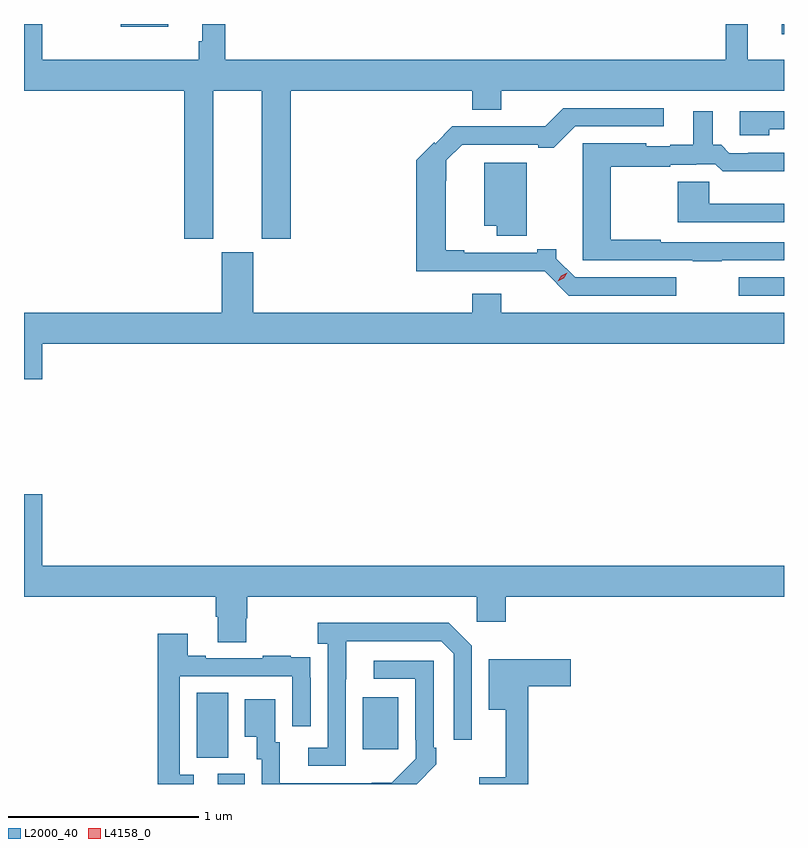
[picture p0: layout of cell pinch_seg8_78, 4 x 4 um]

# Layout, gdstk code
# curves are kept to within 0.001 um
import gdstk
lib = gdstk.Library(unit=1e-6, precision=1e-09)
def R(c, l, rs):  # rectangles x0, y0, x1, y1
    for r in rs: c.add(gdstk.rectangle(r[:2], r[2:], *l))
def P(c, l, *ps):  # polygons
    for p in ps: c.add(gdstk.Polygon(p, *l))
L2000_40 = (2000, 40)
L4158_0 = (4158, 0)

pinch_seg8_78 = lib.new_cell('pinch_seg8_78')
R(pinch_seg8_78, L2000_40, [(1029.233,1107.523,1029.373,1107.576), (1029.122,1107.661,1029.286,1108.004), (1029.995,1107.705,1030.183,1107.979), (1031.973,1110.093,1032.212,1110.189), (1032.2,1111.469,1032.212,1111.523), (1028.72,1111.508,1028.971,1111.523)])
P(pinch_seg8_78, L2000_40, [(1029.208,1111.172),(1029.464,1111.172),(1029.464,1110.393),(1029.617,1110.393),(1029.617,1111.172),(1030.571,1111.172),(1030.571,1111.073),(1030.723,1111.073),(1030.723,1111.172),(1032.212,1111.172),(1032.212,1111.336),(1032.022,1111.336),(1032.022,1111.523),(1031.905,1111.523),(1031.905,1111.336),(1029.271,1111.336),(1029.271,1111.523),(1029.149,1111.523),(1029.149,1111.432),(1029.132,1111.432),(1029.132,1111.336),(1028.308,1111.336),(1028.308,1111.523),(1028.212,1111.523),(1028.212,1111.172),(1029.055,1111.172),(1029.055,1110.393),(1029.208,1110.393)],
  [(1031.644,1110.189),(1031.112,1110.189),(1031.013,1110.288),(1031.013,1110.338),(1030.913,1110.338),(1030.913,1110.318),(1030.528,1110.318),(1030.528,1110.331),(1030.432,1110.331),(1030.432,1110.698),(1030.435,1110.698),(1030.435,1110.805),(1030.518,1110.888),(1030.919,1110.888),(1030.919,1110.872),(1031,1110.872),(1031.112,1110.984),(1031.578,1110.984),(1031.578,1111.08),(1031.049,1111.08),(1030.955,1110.986),(1030.85,1110.986),(1030.85,1110.984),(1030.467,1110.984),(1030.377,1110.894),(1030.37,1110.901),(1030.277,1110.807),(1030.277,1110.222),(1030.952,1110.221),(1031.079,1110.093),(1031.644,1110.093)],
  [(1032.135,1110.969),(1032.212,1110.969),(1032.212,1111.065),(1031.978,1111.065),(1031.978,1110.938),(1032.135,1110.938)],
  [(1031.885,1110.279),(1032.212,1110.279),(1032.212,1110.375),(1031.564,1110.375),(1031.564,1110.388),(1031.301,1110.388),(1031.301,1110.771),(1031.613,1110.771),(1031.613,1110.783),(1031.75,1110.783),(1031.75,1110.786),(1031.85,1110.786),(1031.89,1110.747),(1032.083,1110.747),(1032.083,1110.749),(1032.212,1110.749),(1032.212,1110.846),(1032.025,1110.846),(1032.025,1110.843),(1031.925,1110.843),(1031.882,1110.887),(1031.836,1110.887),(1031.836,1111.063),(1031.735,1111.063),(1031.735,1110.887),(1031.613,1110.887),(1031.613,1110.879),(1031.487,1110.879),(1031.487,1110.895),(1031.153,1110.895),(1031.153,1110.279),(1031.731,1110.279),(1031.731,1110.274),(1031.885,1110.274)],
  [(1030.858,1110.793),(1030.634,1110.793),(1030.634,1110.461),(1030.7,1110.461),(1030.7,1110.408),(1030.858,1110.408)],
  [(1032.212,1110.577),(1031.819,1110.577),(1031.819,1110.694),(1031.653,1110.694),(1031.653,1110.48),(1032.212,1110.48)],
  [(1028.308,1109.84),(1032.212,1109.84),(1032.212,1110.004),(1030.723,1110.004),(1030.723,1110.103),(1030.571,1110.103),(1030.571,1110.004),(1029.418,1110.004),(1029.418,1110.321),(1029.254,1110.321),(1029.254,1110.004),(1028.212,1110.004),(1028.212,1109.652),(1028.308,1109.652)],
  [(1029.381,1108.395),(1029.386,1108.395),(1029.386,1108.508),(1030.596,1108.508),(1030.596,1108.377),(1030.748,1108.377),(1030.748,1108.508),(1032.212,1108.508),(1032.212,1108.672),(1028.308,1108.672),(1028.308,1109.047),(1028.212,1109.047),(1028.212,1108.508),(1029.221,1108.508),(1029.221,1108.402),(1029.233,1108.402),(1029.233,1108.27),(1029.381,1108.27)],
  [(1029.906,1108.075),(1029.907,1108.275),(1030.407,1108.275),(1030.473,1108.209),(1030.473,1107.756),(1030.569,1107.756),(1030.569,1108.251),(1030.448,1108.372),(1029.759,1108.372),(1029.759,1108.262),(1029.81,1108.262),(1029.81,1107.714),(1029.708,1107.714),(1029.708,1107.618),(1029.906,1107.618)],
  [(1029.106,1107.573),(1029.033,1107.573),(1029.033,1108.089),(1029.624,1108.089),(1029.624,1107.828),(1029.72,1107.828),(1029.72,1108.082),(1029.719,1108.082),(1029.719,1108.191),(1029.617,1108.191),(1029.617,1108.198),(1029.469,1108.198),(1029.469,1108.185),(1029.169,1108.185),(1029.169,1108.198),(1029.073,1108.198),(1029.073,1108.315),(1028.917,1108.315),(1028.917,1107.523),(1029.106,1107.523)],
  [(1030.865,1108.037),(1031.089,1108.037),(1031.089,1108.179),(1030.658,1108.179),(1030.658,1107.914),(1030.748,1107.914),(1030.748,1107.559),(1030.608,1107.559),(1030.608,1107.523),(1030.865,1107.523)],
  [(1030.383,1107.627),(1030.383,1107.715),(1030.368,1107.715),(1030.368,1108.173),(1030.053,1108.173),(1030.053,1108.077),(1030.272,1108.077),(1030.272,1107.757),(1030.275,1107.757),(1030.275,1107.657),(1030.147,1107.529),(1029.559,1107.528),(1029.559,1107.744),(1029.535,1107.744),(1029.535,1107.97),(1029.374,1107.97),(1029.374,1107.773),(1029.437,1107.773),(1029.437,1107.654),(1029.462,1107.654),(1029.462,1107.523),(1030.279,1107.523)])
P(pinch_seg8_78, L4158_0, [(1031.021,1110.169),(1031.021,1110.17),(1031.04,1110.199),(1031.071,1110.214),(1031.071,1110.214),(1031.071,1110.214),(1031.053,1110.184),(1031.022,1110.169)])

lib.write_gds('pinch_seg8_78.gds')
